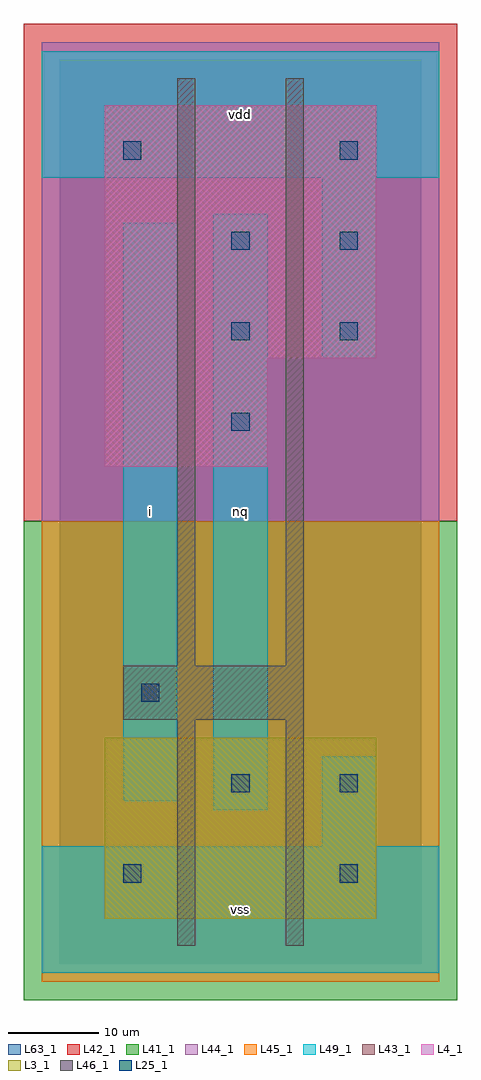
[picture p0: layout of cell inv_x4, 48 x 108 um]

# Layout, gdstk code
import gdstk
lib = gdstk.Library(unit=1e-6, precision=1e-09)
def R(c, l, rs):  # rectangles x0, y0, x1, y1
    for r in rs: c.add(gdstk.rectangle(r[:2], r[2:], *l))
def A(c, l, x, y, w, h, nx, ny, dx, dy):  # array of equal rectangles
    R(c, l, [(x+i*dx, y+j*dy, x+i*dx+w, y+j*dy+h) for i in range(nx) for j in range(ny)])
L3_1 = (3, 1)
L4_1 = (4, 1)
L25_1 = (25, 1)
L41_1 = (41, 1)
L42_1 = (42, 1)
L43_1 = (43, 1)
L44_1 = (44, 1)
L45_1 = (45, 1)
L46_1 = (46, 1)
L49_1 = (49, 1)
L63_1 = (63, 1)

inv_x4 = lib.new_cell('inv_x4')
R(inv_x4, L3_1, [(5,5,35,25)])
R(inv_x4, L4_1, [(5,55,23,67), (5,67,35,95)])
A(inv_x4, L25_1, 19, 59, 2, 2, 1, 3, 0, 10)
A(inv_x4, L25_1, 31, 69, 2, 2, 1, 3, 0, 10)
R(inv_x4, L25_1, [(7,9,9,11), (31,9,33,11), (19,19,21,21), (31,19,33,21), (9,29,11,31), (7,89,9,91)])
R(inv_x4, L41_1, [(-4,-4,44,49)])
R(inv_x4, L42_1, [(-4,49,44,104)])
R(inv_x4, L43_1, [(5,5,35,25), (5,55,23,67), (5,67,35,95)])
R(inv_x4, L44_1, [(-2,49,42,102)])
R(inv_x4, L45_1, [(-2,-2,42,49)])
R(inv_x4, L46_1, [(13,2,15,27), (25,2,27,27), (7,27,27,33), (13,33,15,98), (25,33,27,98)])
R(inv_x4, L49_1, [(-2,-1,42,13), (29,13,35,23), (17,17,23,83), (7,18,13,82), (29,67,35,87), (-2,87,42,101)])
R(inv_x4, L63_1, [(0,0,40,100)])
inv_x4.add(gdstk.Label('i', (10,50), layer=49, texttype=1))
inv_x4.add(gdstk.Label('i', (10,50), layer=49, texttype=1))
inv_x4.add(gdstk.Label('vss', (20,6), layer=49, texttype=1))
inv_x4.add(gdstk.Label('vss', (20,6), layer=49, texttype=1))
inv_x4.add(gdstk.Label('nq', (20,50), layer=49, texttype=1))
inv_x4.add(gdstk.Label('nq', (20,50), layer=49, texttype=1))
inv_x4.add(gdstk.Label('vdd', (20,94), layer=49, texttype=1))
inv_x4.add(gdstk.Label('vdd', (20,94), layer=49, texttype=1))

lib.write_gds('inv_x4.gds')
